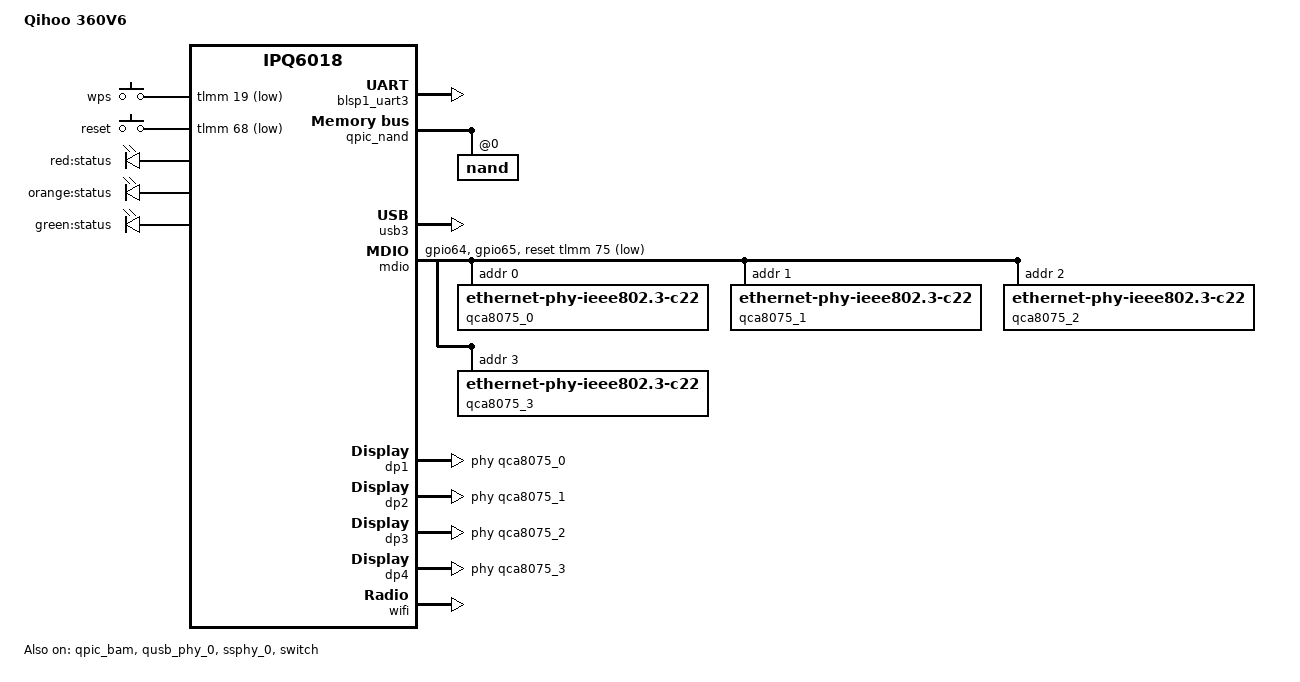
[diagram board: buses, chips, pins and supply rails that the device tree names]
// SPDX-License-Identifier: GPL-2.0-or-later OR MIT

/dts-v1/;

#include "ipq6018-512m.dtsi"
#include "ipq6018-ess.dtsi"
#include "ipq6018-mp5496.dtsi"
#include "ipq6018-nss.dtsi"

#include <dt-bindings/gpio/gpio.h>
#include <dt-bindings/input/input.h>

/ {
	model = "Qihoo 360V6";
	compatible = "qihoo,360v6", "qcom,ipq6018";

	aliases {
		serial0 = &blsp1_uart3;
		led-boot = &led_green;
		led-failsafe = &led_red;
		led-running = &led_green;
		led-upgrade = &led_orange;
	};

	chosen {
		stdout-path = "serial0:115200n8";
		bootargs-append = " root=/dev/ubiblock0_1";
	};

	keys {
		compatible = "gpio-keys";

		wps {
			label = "wps";
			linux,code = <KEY_WPS_BUTTON>;
			gpios = <&tlmm 19 GPIO_ACTIVE_LOW>;
		};

		reset {
			label = "reset";
			linux,code = <KEY_RESTART>;
			gpios = <&tlmm 68 GPIO_ACTIVE_LOW>;
		};
	};

	leds {
		compatible = "gpio-leds";

		led_red: status_red {
			label = "red:status";
			gpio = <&tlmm 71 GPIO_ACTIVE_HIGH>;
		};

		led_orange: status_orange {
			label = "orange:status";
			gpio = <&tlmm 72 GPIO_ACTIVE_HIGH>;
		};

		led_green: status_green {
			label = "green:status";
			gpio = <&tlmm 73 GPIO_ACTIVE_HIGH>;
		};
	};
};

&tlmm {
	mdio_pins: mdio-pins {
		mdc {
			pins = "gpio64";
			function = "mdc";
			drive-strength = <8>;
			bias-pull-up;
		};

		mdio {
			pins = "gpio65";
			function = "mdio";
			drive-strength = <8>;
			bias-pull-up;
		};
	};
};

&blsp1_uart3 {
	pinctrl-0 = <&serial_3_pins>;
	pinctrl-names = "default";
	status = "okay";
};

&qpic_bam {
	status = "okay";
};

&qpic_nand {
	status = "okay";

	nand@0 {
		reg = <0>;
		nand-ecc-strength = <4>;
		nand-ecc-step-size = <512>;
		nand-bus-width = <8>;

		partitions {
			compatible = "qcom,smem-part";
		};
	};
};

&qusb_phy_0 {
	status = "okay";
};

&ssphy_0 {
	status = "okay";
};

&usb3 {
	status = "okay";
};

&mdio {
	status = "okay";

	pinctrl-0 = <&mdio_pins>;
	pinctrl-names = "default";
	reset-gpios = <&tlmm 75 GPIO_ACTIVE_LOW>;

	qca8075_0: ethernet-phy@0 {
		compatible = "ethernet-phy-ieee802.3-c22";
		reg = <0>;
	};

	qca8075_1: ethernet-phy@1 {
		compatible = "ethernet-phy-ieee802.3-c22";
		reg = <1>;
	};

	qca8075_2: ethernet-phy@2 {
		compatible = "ethernet-phy-ieee802.3-c22";
		reg = <2>;
	};

	qca8075_3: ethernet-phy@3 {
		compatible = "ethernet-phy-ieee802.3-c22";
		reg = <3>;
	};
};

&switch {
	status = "okay";

	switch_cpu_bmp = <0x1>;  /* cpu port bitmap */
	switch_lan_bmp = <0xe>;  /* lan port bitmap */
	switch_wan_bmp = <0x10>; /* wan port bitmap */
	switch_inner_bmp = <0xc0>; /*inner port bitmap*/
	switch_mac_mode = <0x0>; /* mac mode for uniphy 0*/
	switch_mac_mode1 = <0xff>; /* mac mode for uniphy 1*/
	switch_mac_mode2 = <0xff>; /* mac mode for uniphy 2*/

	qcom,port_phyinfo {
		port@0 {
			port_id = <1>;
			phy_address = <0>;
		};
		port@1 {
			port_id = <2>;
			phy_address = <1>;
		};
		port@2 {
			port_id = <3>;
			phy_address = <2>;
		};
		port@3 {
			port_id = <4>;
			phy_address = <3>;
		};
	};
};

&edma {
	status = "okay";
};

&dp1 {
	status = "okay";
	phy-handle = <&qca8075_0>;
	label = "lan1";
};

&dp2 {
	status = "okay";
	phy-handle = <&qca8075_1>;
	label = "lan2";
};

&dp3 {
	status = "okay";
	phy-handle = <&qca8075_2>;
	label = "lan3";
};

&dp4 {
	status = "okay";
	phy-handle = <&qca8075_3>;
	label = "wan";
};

&wifi {
	status = "okay";

	qcom,ath11k-fw-memory-mode = <1>;
};
